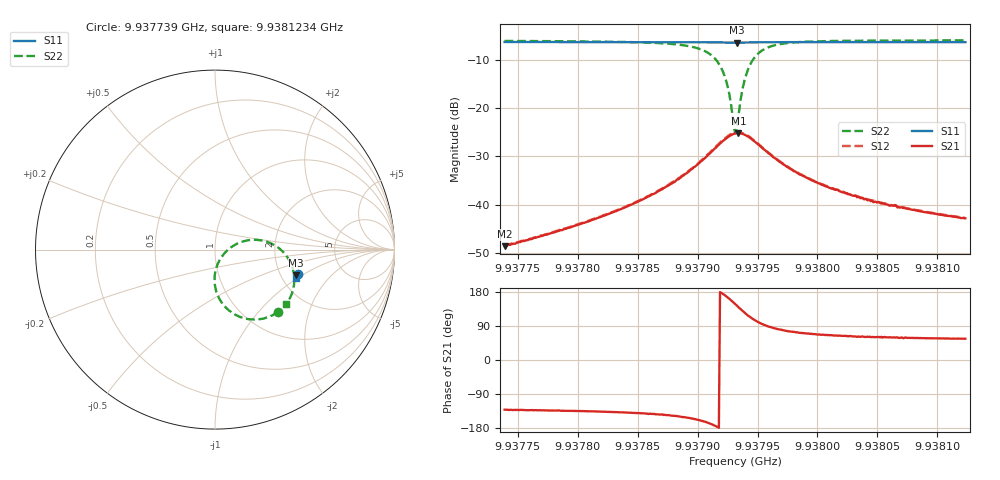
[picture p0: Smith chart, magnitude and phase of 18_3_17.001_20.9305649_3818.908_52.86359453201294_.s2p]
#  HZ  S  RI  R  50.00
! Rohde & Schwarz Vector Network Analyzer
! Rohde-Schwarz,ZNB20-2Port,1311601062101988,3.16
! Created: UTC 3/20/2024, 10:52:53 PM
! freq[Hz]  re:S11  im:S11  re:S21  im:S21  re:S12  im:S12  re:S22  im:S22
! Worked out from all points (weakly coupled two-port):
!   401 points, 9.937739 GHz to 9.9381234 GHz, reference 50 ohm
!   highest |S21| = -25.22 dB at 9.9379341 GHz (marker M1); lowest = -48.6 dB at 9.937739 GHz (marker M2)
!   lowest |S11| = -6.5 dB at 9.9379331 GHz (marker M3), VSWR 2.80, Z = 121 - j44.8 ohm
!   |S11| at or under -10 dB: nowhere
!   |S22| runs from -25.2 to -6.0 dB; largest |S21 - S12| = 0.002
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9.93773896e9  0.4623 -0.1345  -0.00244 -0.00281  -0.00253 -0.00277  0.3515 -0.3464
9.93780335e9  0.4604 -0.139  -0.0045 -0.00452  -0.00464 -0.0045  0.3299 -0.3606
9.9378418e9  0.4592 -0.1417  -0.00725 -0.00633  -0.00746 -0.00636  0.3033 -0.3734
9.93786775e9  0.4582 -0.1437  -0.0112 -0.00826  -0.0115 -0.0082  0.2688 -0.3843
9.9378985e9  0.456 -0.1461  -0.0231 -0.0101  -0.0236 -0.00999  0.1694 -0.3844
9.93791484e9  0.4538 -0.1469  -0.0383 -0.00401  -0.0392 -0.00352  0.0538 -0.316
9.93791964e9  0.4528 -0.1467  -0.0438 0.00192  -0.0449 0.00281  0.0172 -0.2598
9.93792349e9  0.4523 -0.1462  -0.0472 0.00904  -0.0483 0.0104  -0.00061 -0.1965
9.93792637e9  0.4518 -0.1456  -0.0486 0.016  -0.0496 0.0175  -0.001 -0.1395
9.93793022e9  0.4517 -0.1446  -0.0473 0.0261  -0.0476 0.0279  0.0249 -0.0598
9.93793118e9  0.4517 -0.1444  -0.0461 0.0286  -0.0466 0.0306  0.0367 -0.0412
9.9379331e9  0.4518 -0.1439  -0.0434 0.0335  -0.0437 0.0353  0.0657 -0.00675
9.93793406e9  0.452 -0.1437  -0.0417 0.0357  -0.0419 0.0374  0.0823 0.00753
9.93793694e9  0.4526 -0.1431  -0.0357 0.0407  -0.0351 0.0427  0.1396 0.04
9.93793983e9  0.4532 -0.1426  -0.0288 0.0438  -0.028 0.0455  0.2006 0.0541
9.93794367e9  0.4541 -0.1426  -0.0195 0.0448  -0.0186 0.0463  0.2745 0.0478
9.93794944e9  0.4554 -0.143  -0.00882 0.0421  -0.00788 0.0429  0.3549 0.00905
9.93796481e9  0.4567 -0.1451  0.00356 0.0299  0.0044 0.03  0.4338 -0.1078
9.93799557e9  0.4565 -0.1488  0.00645 0.0165  0.00697 0.0165  0.4363 -0.2179
9.93802536e9  0.4558 -0.1511  0.00592 0.0114  0.00615 0.0114  0.4229 -0.2587
9.93805996e9  0.4549 -0.1538  0.00489 0.00843  0.00513 0.0085  0.4105 -0.2821
9.93812339e9  0.4531 -0.1583  0.00402 0.006  0.0042 0.00597  0.3961 -0.3039
